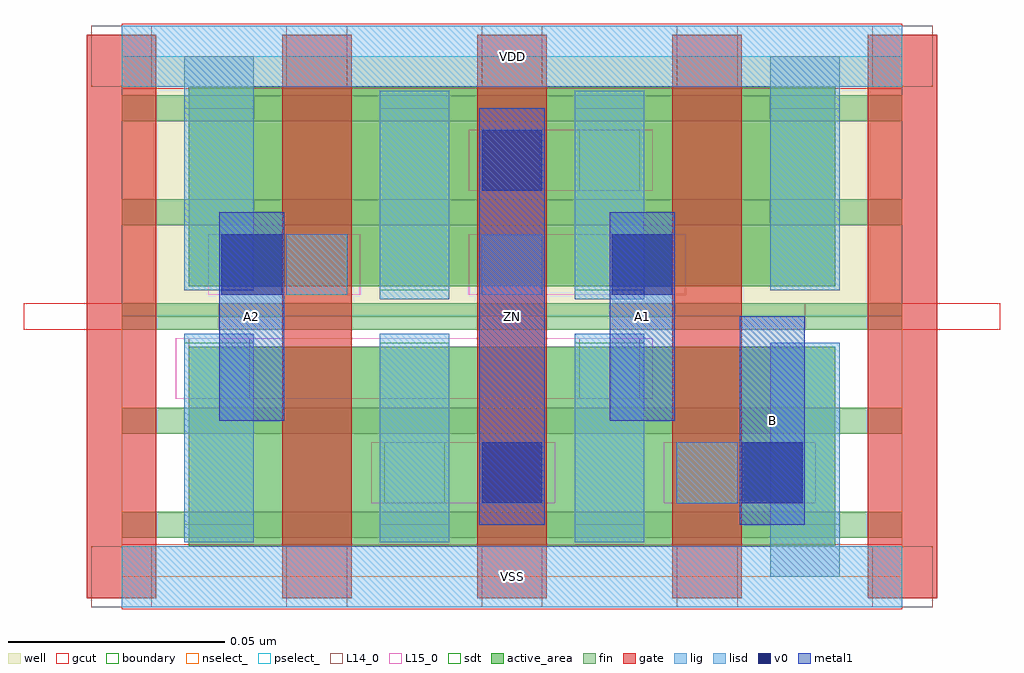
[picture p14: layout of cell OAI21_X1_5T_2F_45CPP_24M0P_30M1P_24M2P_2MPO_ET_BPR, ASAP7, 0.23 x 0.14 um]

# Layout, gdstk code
import gdstk
lib = gdstk.Library(unit=1e-6, precision=2.5e-10)
def R(c, l, rs):  # rectangles x0, y0, x1, y1
    for r in rs: c.add(gdstk.rectangle(r[:2], r[2:], *l))
def A(c, l, x, y, w, h, nx, ny, dx, dy):  # array of equal rectangles
    R(c, l, [(x+i*dx, y+j*dy, x+i*dx+w, y+j*dy+h) for i in range(nx) for j in range(ny)])
well = (1, 0)
fin = (2, 0)
gate = (7, 0)
gcut = (10, 0)
active_area = (11, 0)
nselect_ = (12, 0)
pselect_ = (13, 0)
L14_0 = (14, 0)
L15_0 = (15, 0)
lig = (16, 0)
lisd = (17, 0)
v0 = (18, 0)
metal1 = (19, 0)
sdt = (88, 0)
boundary = (100, 0)

oai21_x1_5t_2f_45cpp_24m = lib.new_cell('OAI21_X1_5T_2F_45CPP_24M0P_30M1P_24M2P_2MPO_ET_BPR')
R(oai21_x1_5t_2f_45cpp_24m, well, [(0,0.06,0.18,0.12)])
A(oai21_x1_5t_2f_45cpp_24m, fin, 0, 0.009, 0.18, 0.006, 1, 5, 0, 0.024)
A(oai21_x1_5t_2f_45cpp_24m, gate, -0.008, -0.005, 0.016, 0.13, 5, 1, 0.045, 0)
R(oai21_x1_5t_2f_45cpp_24m, gcut, [(0,-0.0075,0.18,0.0075), (-0.0225,0.057,0.0225,0.063), (0.1575,0.057,0.2025,0.063), (0,0.1125,0.18,0.1275)])
A(oai21_x1_5t_2f_45cpp_24m, active_area, 0.0155, 0.007, 0.059, 0.046, 3, 2, 0.045, 0.06)
R(oai21_x1_5t_2f_45cpp_24m, nselect_, [(0,0,0.18,0.06)])
R(oai21_x1_5t_2f_45cpp_24m, pselect_, [(0,0.06,0.18,0.12)])
A(oai21_x1_5t_2f_45cpp_24m, L14_0, -0.007, -0.007, 0.014, 0.014, 5, 2, 0.045, 0.12)
R(oai21_x1_5t_2f_45cpp_24m, L14_0, [(0.0605,0.017,0.0745,0.031), (0.128,0.017,0.142,0.031), (0.0155,0.041,0.0295,0.055), (0.1055,0.041,0.1195,0.055), (0.038,0.065,0.052,0.079), (0.083,0.065,0.097,0.079), (0.1055,0.089,0.1195,0.103)])
R(oai21_x1_5t_2f_45cpp_24m, L15_0, [(0,-0.007,0.18,0.007), (0.0575,0.017,0.1,0.031), (0.125,0.017,0.16,0.031), (0.0125,0.041,0.1225,0.055), (0.02,0.065,0.055,0.079), (0.08,0.065,0.13,0.079), (0.08,0.089,0.1225,0.103), (0,0.113,0.18,0.127)])
R(oai21_x1_5t_2f_45cpp_24m, lig, [(0,-0.007,0.18,0.007), (0.128,0.017,0.142,0.031), (0.038,0.065,0.052,0.079), (0.083,0.065,0.097,0.079), (0,0.113,0.18,0.127)])
A(oai21_x1_5t_2f_45cpp_24m, lisd, 0.0145, 0.008, 0.016, 0.048, 3, 1, 0.045, 0)
R(oai21_x1_5t_2f_45cpp_24m, lisd, [(0.1495,0,0.1655,0.054), (0.0595,0.064,0.0755,0.112), (0.1045,0.064,0.1205,0.112), (0.0145,0.066,0.0305,0.12), (0.1495,0.066,0.1655,0.12)])
R(oai21_x1_5t_2f_45cpp_24m, v0, [(0.083,0.017,0.097,0.031), (0.143,0.017,0.157,0.031), (0.023,0.065,0.037,0.079), (0.113,0.065,0.127,0.079), (0.083,0.089,0.097,0.103)])
R(oai21_x1_5t_2f_45cpp_24m, metal1, [(0.0825,0.012,0.0975,0.108), (0.1425,0.012,0.1575,0.06), (0.0225,0.036,0.0375,0.084), (0.1125,0.036,0.1275,0.084)])
A(oai21_x1_5t_2f_45cpp_24m, sdt, 0.0145, 0.012, 0.016, 0.042, 4, 2, 0.045, 0.054)
R(oai21_x1_5t_2f_45cpp_24m, boundary, [(0,0,0.18,0.12)])
oai21_x1_5t_2f_45cpp_24m.add(gdstk.Label('B', (0.15,0.036), layer=19, texttype=251))
oai21_x1_5t_2f_45cpp_24m.add(gdstk.Label('A1', (0.12,0.06), layer=19, texttype=251))
oai21_x1_5t_2f_45cpp_24m.add(gdstk.Label('ZN', (0.09,0.06), layer=19, texttype=251))
oai21_x1_5t_2f_45cpp_24m.add(gdstk.Label('A2', (0.03,0.06), layer=19, texttype=251))
oai21_x1_5t_2f_45cpp_24m.add(gdstk.Label('VDD', (0.09,0.12), layer=15, texttype=251))
oai21_x1_5t_2f_45cpp_24m.add(gdstk.Label('VSS', (0.09,0), layer=15, texttype=251))
oai21_x1_5t_2f_45cpp_24m.add(gdstk.Label('VDD', (0.09,0.12), layer=1, texttype=251))
oai21_x1_5t_2f_45cpp_24m.add(gdstk.Label('VSS', (0.09,0), layer=3, texttype=251))

lib.write_gds('OAI21_X1_5T_2F_45CPP_24M0P_30M1P_24M2P_2MPO_ET_BPR.gds')
